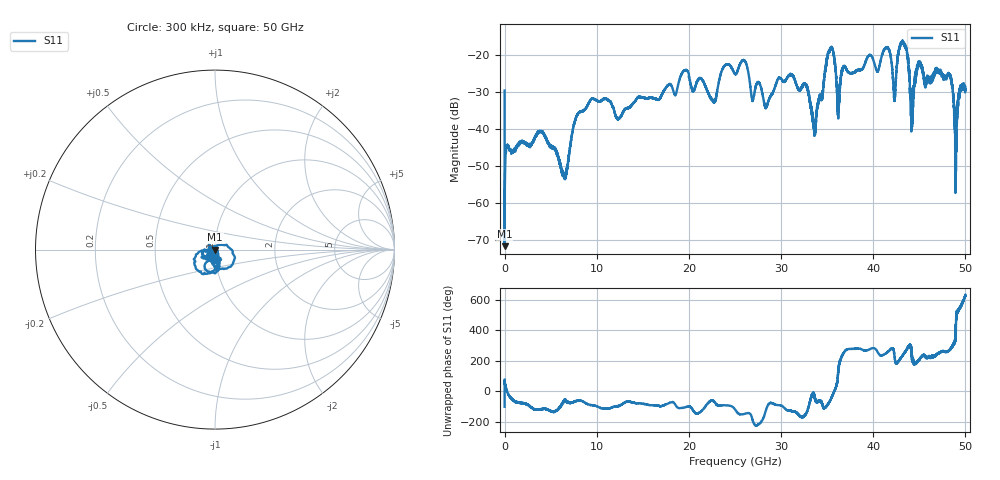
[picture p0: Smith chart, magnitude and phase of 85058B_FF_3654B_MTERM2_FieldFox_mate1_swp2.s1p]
!Created with skrf (http://scikit-rf.org).
# Hz S RI R 50.0
!freq ReS11 ImS11
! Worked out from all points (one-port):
!   10001 points, 300 kHz to 50 GHz, reference 50 ohm
!   lowest |S11| = -71.6 dB at 5.3 MHz (marker M1), VSWR 1.00, Z = 50 + j0.0256 ohm
!   |S11| at or under -10 dB: start of sweep to end of sweep
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300000  -0.00638 -0.0329
5299970  5.39e-05 0.000256
2.552985e8  0.00593 0.000236
3.950276e9  -0.0043 -0.0083
6.250262e9  0.000396 -0.00237
9.380244e9  -5.83e-05 -0.0254
1.250022e10  -0.000961 -0.0144
1.875019e10  -0.00962 -0.0351
1.968518e10  -0.0141 -0.0619
2.270016e10  0.00969 -0.0215
2.382016e10  -0.00183 -0.0712
2.500015e10  -0.0269 -0.0497
2.603514e10  -0.0722 -0.0456
2.837013e10  -0.0104 -0.017
3.125011e10  -0.0342 -0.0402
3.36051e10  0.00793 -0.00425
3.531009e10  0.0513 -0.1062
3.620508e10  -0.00902 0.0107
3.750008e10  0.00855 -0.0566
4.148505e10  -0.0344 -0.1229
4.230005e10  -0.0125 -0.0221
4.302504e10  -0.1065 -0.0939
4.375004e10  0.027 -0.0872
4.420503e10  -0.00843 -0.00852
4.499503e10  -0.0659 -0.0367
4.827501e10  0.000516 -0.0537
4.896501e10  0.00345 0.00187
5e10  0.00025 -0.0346
